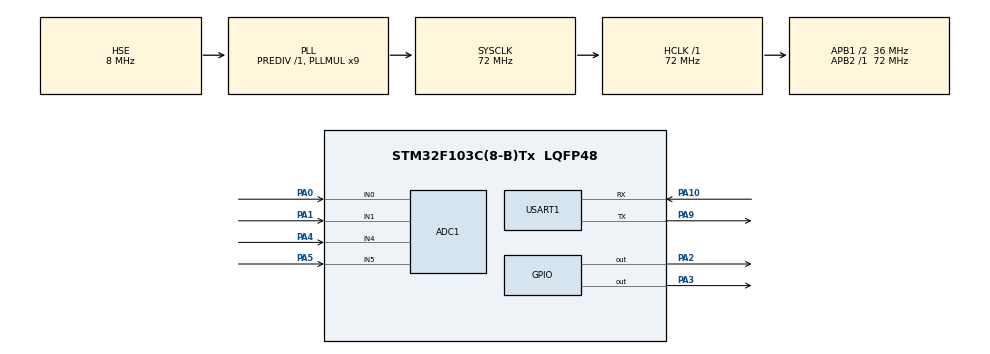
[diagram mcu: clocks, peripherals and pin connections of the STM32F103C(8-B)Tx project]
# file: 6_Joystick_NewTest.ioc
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ADC1.Channel-0\#ChannelRegularConversion=ADC_CHANNEL_0
ADC1.Channel-1\#ChannelRegularConversion=ADC_CHANNEL_1
ADC1.Channel-2\#ChannelRegularConversion=ADC_CHANNEL_4
ADC1.Channel-3\#ChannelRegularConversion=ADC_CHANNEL_5
ADC1.NbrOfConversion=4
ADC1.NbrOfConversionFlag=1
ADC1.Rank-0\#ChannelRegularConversion=1
ADC1.Rank-1\#ChannelRegularConversion=2
ADC1.Rank-2\#ChannelRegularConversion=3
ADC1.Rank-3\#ChannelRegularConversion=4
ADC1.SamplingTime-0\#ChannelRegularConversion=ADC_SAMPLETIME_55CYCLES_5
ADC1.SamplingTime-1\#ChannelRegularConversion=ADC_SAMPLETIME_55CYCLES_5
ADC1.SamplingTime-2\#ChannelRegularConversion=ADC_SAMPLETIME_55CYCLES_5
ADC1.SamplingTime-3\#ChannelRegularConversion=ADC_SAMPLETIME_55CYCLES_5
ADC1.master=1
Mcu.Family=STM32F1
Mcu.Name=STM32F103C(8-B)Tx
Mcu.Package=LQFP48
NVIC.PriorityGroup=NVIC_PRIORITYGROUP_4
PA0-WKUP.Signal=ADCx_IN0
PA1.Signal=ADCx_IN1
PA10.Mode=Asynchronous
PA10.Signal=USART1_RX
PA13.Mode=Serial_Wire
PA13.Signal=SYS_JTMS-SWDIO
PA14.Mode=Serial_Wire
PA14.Signal=SYS_JTCK-SWCLK
PA2.PinState=GPIO_PIN_SET
PA2.Signal=GPIO_Output
PA3.PinState=GPIO_PIN_SET
PA3.Signal=GPIO_Output
PA4.Signal=ADCx_IN4
PA5.Signal=ADCx_IN5
PA9.Mode=Asynchronous
PA9.Signal=USART1_TX
PD0-OSC_IN.Mode=HSE-External-Oscillator
PD0-OSC_IN.Signal=RCC_OSC_IN
PD1-OSC_OUT.Mode=HSE-External-Oscillator
PD1-OSC_OUT.Signal=RCC_OSC_OUT
ProjectManager.HeapSize=0x200
ProjectManager.StackSize=0x400
ProjectManager.TargetToolchain=MDK-ARM V5.32
RCC.ADCPresc=RCC_ADCPCLK2_DIV6
RCC.AHBFreq_Value=72000000
RCC.APB1CLKDivider=RCC_HCLK_DIV2
RCC.APB1Freq_Value=36000000
RCC.APB1TimFreq_Value=72000000
RCC.APB2Freq_Value=72000000
RCC.APB2TimFreq_Value=72000000
RCC.EnbaleCSS=true
RCC.HCLKFreq_Value=72000000
RCC.PLLMUL=RCC_PLL_MUL9
RCC.PLLSourceVirtual=RCC_PLLSOURCE_HSE
RCC.SYSCLKFreq_VALUE=72000000
RCC.SYSCLKSource=RCC_SYSCLKSOURCE_PLLCLK
RCC.USBFreq_Value=72000000
SH.ADCx_IN0.0=ADC1_IN0,IN0
SH.ADCx_IN1.0=ADC1_IN1,IN1
SH.ADCx_IN4.0=ADC1_IN4,IN4
SH.ADCx_IN5.0=ADC1_IN5,IN5
USART1.VirtualMode=VM_ASYNC
board=custom

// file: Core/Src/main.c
/* USER CODE BEGIN Header */
/**
  ******************************************************************************
  * @file           : main.c
  * @brief          : Main program body
  ******************************************************************************
  * @attention
  *
  * Copyright (c) 2025 STMicroelectronics.
  * All rights reserved.
  *
  * This software is licensed under terms that can be found in the LICENSE file
  * in the root directory of this software component.
  * If no LICENSE file comes with this software, it is provided AS-IS.
  *
  ******************************************************************************
  */
/* USER CODE END Header */
#include "main.h"
#include "adc.h"
#include "usart.h"
#include "gpio.h"

/* USER CODE BEGIN Includes */

#include "stdio.h"
#include "string.h"

/* USER CODE END Includes */

/* USER CODE BEGIN PD */

#define ADC_READ_TIMEOUT_MS  20
#define TXBUF_SIZE           128

/* USER CODE END PD */

/* USER CODE BEGIN PV */

/* 全局 ADC 缓冲和帧序号 */
static uint16_t adc_buf[4];
static uint32_t frame_seq = 0;

/* USER CODE END PV */

void SystemClock_Config(void);
/* USER CODE BEGIN PFP */

void ADC_Calibration_StartOnce(void);
void Lin_adc(void);

/* USER CODE END PFP */

int main(void)
{

  /* MCU Configuration--------------------------------------------------------*/

  /* Reset of all peripherals, Initializes the Flash interface and the Systick. */
  HAL_Init();

  /* Configure the system clock */
  SystemClock_Config();

  /* Initialize all configured peripherals */
  MX_GPIO_Init();
  MX_ADC1_Init();
  MX_USART1_UART_Init();
  /* USER CODE BEGIN 2 */

   ADC_Calibration_StartOnce();

  /* USER CODE END 2 */

  /* Infinite loop */
  /* USER CODE BEGIN WHILE */
  while (1)
  {
    Lin_adc();
    HAL_GPIO_TogglePin(GPIOC, GPIO_PIN_13);
    HAL_Delay(100);
    /* USER CODE END WHILE */

  }
}

void SystemClock_Config(void)
{
  RCC_OscInitTypeDef RCC_OscInitStruct = {0};
  RCC_ClkInitTypeDef RCC_ClkInitStruct = {0};
  RCC_PeriphCLKInitTypeDef PeriphClkInit = {0};

  /** Initializes the RCC Oscillators according to the specified parameters
  * in the RCC_OscInitTypeDef structure.
  */
  RCC_OscInitStruct.OscillatorType = RCC_OSCILLATORTYPE_HSE;
  RCC_OscInitStruct.HSEState = RCC_HSE_ON;
  RCC_OscInitStruct.HSEPredivValue = RCC_HSE_PREDIV_DIV1;
  RCC_OscInitStruct.HSIState = RCC_HSI_ON;
  RCC_OscInitStruct.PLL.PLLState = RCC_PLL_ON;
  RCC_OscInitStruct.PLL.PLLSource = RCC_PLLSOURCE_HSE;
  RCC_OscInitStruct.PLL.PLLMUL = RCC_PLL_MUL9;
  if (HAL_RCC_OscConfig(&RCC_OscInitStruct) != HAL_OK)
  {
    Error_Handler();
  }

  /** Initializes the CPU, AHB and APB buses clocks
  */
  RCC_ClkInitStruct.ClockType = RCC_CLOCKTYPE_HCLK|RCC_CLOCKTYPE_SYSCLK
                              |RCC_CLOCKTYPE_PCLK1|RCC_CLOCKTYPE_PCLK2;
  RCC_ClkInitStruct.SYSCLKSource = RCC_SYSCLKSOURCE_PLLCLK;
  RCC_ClkInitStruct.AHBCLKDivider = RCC_SYSCLK_DIV1;
  RCC_ClkInitStruct.APB1CLKDivider = RCC_HCLK_DIV2;
  RCC_ClkInitStruct.APB2CLKDivider = RCC_HCLK_DIV1;

  if (HAL_RCC_ClockConfig(&RCC_ClkInitStruct, FLASH_LATENCY_2) != HAL_OK)
  {
    Error_Handler();
  }
  PeriphClkInit.PeriphClockSelection = RCC_PERIPHCLK_ADC;
  PeriphClkInit.AdcClockSelection = RCC_ADCPCLK2_DIV6;
  if (HAL_RCCEx_PeriphCLKConfig(&PeriphClkInit) != HAL_OK)
  {
    Error_Handler();
  }

  /** Enables the Clock Security System
  */
  HAL_RCC_EnableCSS();
}

/* USER CODE BEGIN 4 */

/* ADC 校准（F1 系列在 ADC 初始化后调用一次） */
void ADC_Calibration_StartOnce(void)
{
#ifdef HAL_ADC_MODULE_ENABLED
    HAL_ADCEx_Calibration_Start(&hadc1);
#endif
}

/* 稳健读取 ADC 并发送 UART */
void Lin_adc(void)
{
    char txbuf[TXBUF_SIZE];
    HAL_StatusTypeDef ret;

    /* 启动 ADC 一次序列 */
    ret = HAL_ADC_Start(&hadc1);
    if (ret != HAL_OK) return;  // 错误直接返回

    /* 读取 4 个通道 */
    for (int i = 0; i < 4; i++)
    {
        ret = HAL_ADC_PollForConversion(&hadc1, ADC_READ_TIMEOUT_MS);
        if (ret == HAL_OK)
            adc_buf[i] = HAL_ADC_GetValue(&hadc1);
        else
            adc_buf[i] = 0xFFFF;  // 超时或错误
    }

    HAL_ADC_Stop(&hadc1);

    /* 读取按键 */
    uint8_t sw1 = (HAL_GPIO_ReadPin(GPIOA, GPIO_PIN_2) == GPIO_PIN_RESET) ? 1 : 0;
    uint8_t sw2 = (HAL_GPIO_ReadPin(GPIOA, GPIO_PIN_3) == GPIO_PIN_RESET) ? 1 : 0;

    /* 格式化输出 */
    frame_seq++;
    int len = snprintf(txbuf, sizeof(txbuf),
                       "%lu,%u,%u,%u,%u,%u,%u\r\n",
                       frame_seq,
                       (unsigned)adc_buf[0], (unsigned)adc_buf[1],
                       (unsigned)sw1,
                       (unsigned)adc_buf[2], (unsigned)adc_buf[3],
                       (unsigned)sw2);
    if (len > 0 && len < (int)sizeof(txbuf))
    {
        HAL_UART_Transmit(&huart1, (uint8_t*)txbuf, len, 100);
    }
}

/* USER CODE END 4 */

void Error_Handler(void)
{
  __disable_irq();
  while (1)
  {
  }
}
